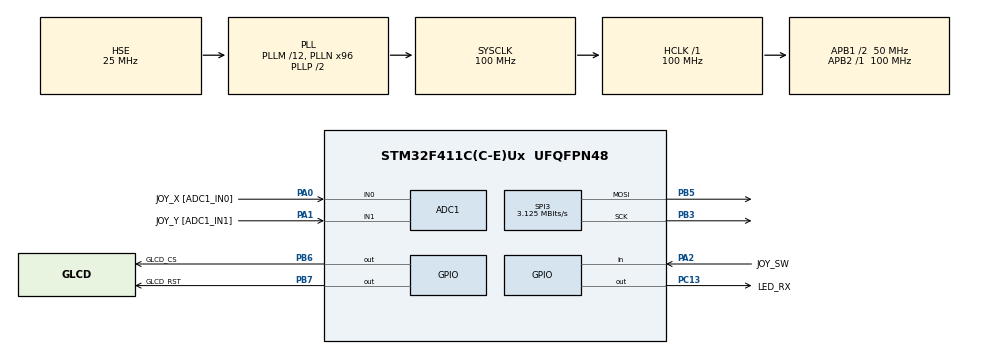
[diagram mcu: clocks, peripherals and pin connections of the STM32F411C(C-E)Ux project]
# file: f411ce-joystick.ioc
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ADC1.Channel-2\#ChannelRegularConversion=ADC_CHANNEL_0
ADC1.Channel-3\#ChannelRegularConversion=ADC_CHANNEL_1
ADC1.ContinuousConvMode=ENABLE
ADC1.DMAContinuousRequests=ENABLE
ADC1.EOCSelection=ADC_EOC_SEQ_CONV
ADC1.NbrOfConversion=2
ADC1.NbrOfConversionFlag=1
ADC1.Rank-2\#ChannelRegularConversion=1
ADC1.Rank-3\#ChannelRegularConversion=2
ADC1.SamplingTime-2\#ChannelRegularConversion=ADC_SAMPLETIME_112CYCLES
ADC1.SamplingTime-3\#ChannelRegularConversion=ADC_SAMPLETIME_112CYCLES
ADC1.ScanConvMode=ENABLE
ADC1.master=1
Dma.ADC1.0.Direction=DMA_PERIPH_TO_MEMORY
Dma.ADC1.0.FIFOMode=DMA_FIFOMODE_DISABLE
Dma.ADC1.0.Instance=DMA2_Stream0
Dma.ADC1.0.MemDataAlignment=DMA_MDATAALIGN_HALFWORD
Dma.ADC1.0.MemInc=DMA_MINC_ENABLE
Dma.ADC1.0.Mode=DMA_CIRCULAR
Dma.ADC1.0.PeriphDataAlignment=DMA_PDATAALIGN_HALFWORD
Dma.ADC1.0.PeriphInc=DMA_PINC_DISABLE
Dma.ADC1.0.Priority=DMA_PRIORITY_LOW
Dma.Request0=ADC1
Mcu.Family=STM32F4
Mcu.Name=STM32F411C(C-E)Ux
Mcu.Package=UFQFPN48
NVIC.ADC_IRQn=true\:0\:0\:false\:false\:true\:true\:true\:true
NVIC.DMA2_Stream0_IRQn=true\:0\:0\:false\:false\:true\:false\:true\:true
NVIC.PriorityGroup=NVIC_PRIORITYGROUP_4
NVIC.TIM1_BRK_TIM9_IRQn=true\:0\:0\:false\:false\:true\:true\:true\:true
PA0-WKUP.GPIO_Label=JOY_X [ADC1_IN0]
PA0-WKUP.Signal=ADCx_IN0
PA1.GPIO_Label=JOY_Y [ADC1_IN1]
PA1.Signal=ADCx_IN1
PA13.Mode=Serial_Wire
PA13.Signal=SYS_JTMS-SWDIO
PA14.Mode=Serial_Wire
PA14.Signal=SYS_JTCK-SWCLK
PA2.GPIO_Label=JOY_SW
PA2.GPIO_PuPd=GPIO_PULLUP
PA2.Signal=GPIO_Input
PB3.Mode=TX_Only_Simplex_Unidirect_Master
PB3.Signal=SPI3_SCK
PB5.Mode=TX_Only_Simplex_Unidirect_Master
PB5.Signal=SPI3_MOSI
PB6.GPIO_Label=GLCD_CS
PB6.GPIO_Speed=GPIO_SPEED_FREQ_VERY_HIGH
PB6.Signal=GPIO_Output
PB7.GPIO_Label=GLCD_RST
PB7.GPIO_Speed=GPIO_SPEED_FREQ_VERY_HIGH
PB7.Signal=GPIO_Output
PC13-ANTI_TAMP.GPIO_Label=LED_RX
PC13-ANTI_TAMP.PinState=GPIO_PIN_SET
PC13-ANTI_TAMP.Signal=GPIO_Output
PH0\ -\ OSC_IN.Mode=HSE-External-Oscillator
PH0\ -\ OSC_IN.Signal=RCC_OSC_IN
PH1\ -\ OSC_OUT.Mode=HSE-External-Oscillator
PH1\ -\ OSC_OUT.Signal=RCC_OSC_OUT
ProjectManager.HeapSize=0x200
ProjectManager.StackSize=0x400
ProjectManager.TargetToolchain=STM32CubeIDE
RCC.48MHZClocksFreq_Value=50000000
RCC.AHBFreq_Value=100000000
RCC.APB1CLKDivider=RCC_HCLK_DIV2
RCC.APB1Freq_Value=50000000
RCC.APB1TimFreq_Value=100000000
RCC.APB2Freq_Value=100000000
RCC.APB2TimFreq_Value=100000000
RCC.CortexFreq_Value=100000000
RCC.HCLKFreq_Value=100000000
RCC.HSE_VALUE=25000000
RCC.HSI_VALUE=16000000
RCC.LSE_VALUE=32768
RCC.PLLM=12
RCC.PLLN=96
RCC.PLLSourceVirtual=RCC_PLLSOURCE_HSE
RCC.SYSCLKFreq_VALUE=100000000
RCC.SYSCLKSource=RCC_SYSCLKSOURCE_PLLCLK
RCC.VCOOutputFreq_Value=200000000
SH.ADCx_IN0.0=ADC1_IN0,IN0
SH.ADCx_IN1.0=ADC1_IN1,IN1
SPI3.BaudRatePrescaler=SPI_BAUDRATEPRESCALER_16
SPI3.CLKPhase=SPI_PHASE_2EDGE
SPI3.CalculateBaudRate=3.125 MBits/s
SPI3.Direction=SPI_DIRECTION_2LINES
SPI3.Mode=SPI_MODE_MASTER
SPI3.VirtualType=VM_MASTER
TIM9.Period=4999
TIM9.Prescaler=99
VP_TIM9_VS_ClockSourceINT.Mode=Internal
board=custom

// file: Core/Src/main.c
/* USER CODE BEGIN Header */
/**
 ******************************************************************************
 * @file           : main.c
 * @brief          : Main program body
 ******************************************************************************
 * @attention
 *
 * Copyright (c) 2024 STMicroelectronics.
 * All rights reserved.
 *
 * This software is licensed under terms that can be found in the LICENSE file
 * in the root directory of this software component.
 * If no LICENSE file comes with this software, it is provided AS-IS.
 *
 ******************************************************************************
 */
/* USER CODE END Header */
#include "main.h"
#include "adc.h"
#include "dma.h"
#include "spi.h"
#include "tim.h"
#include "gpio.h"

/* USER CODE BEGIN Includes */
#include <stdint.h>
#include "lvgl.h"
#include "ST7920_SERIAL.h"

#include "screen/screen.h"
/* USER CODE END Includes */

/* USER CODE BEGIN PTD */

typedef enum{
	JOY_SW_RELEASED,
	JOY_SW_PRESSED
}joystick_sw_e;

typedef struct{
	struct{
		// Holds raw ADC read
		uint16_t u16AdcBuffer[2];
	}buffer;
	// processed value of X and Y axis
	// range is -100 to +100
	int_fast8_t AxisX;
	int_fast8_t AxisY;
	joystick_sw_e eButton;
}joystick_t;

/* USER CODE END PTD */

/* USER CODE BEGIN PM */
#define JOYSTICK_AXIS				(2)
#define JOYSTICK_ADC_MAX_VAL		(4095)
#define JOYSTICK_BTN_PRESSED_VAL	(GPIO_PIN_RESET)

#define JOYSTICK_AXIS_X_INDEX		(0)
#define JOYSTICK_AXIS_Y_INDEX		(1)
/* USER CODE END PM */

/* USER CODE BEGIN PV */
joystick_t Joystick1;

static lv_disp_drv_t DispDriver;
static lv_disp_draw_buf_t DrawBuf;
static lv_color_t buf1[128 * 64];
static lv_disp_t *disp;
/* USER CODE END PV */

void SystemClock_Config(void);

/* USER CODE BEGIN 0 */

/* === TIM Callbacks == */

void HAL_TIM_PeriodElapsedCallback(TIM_HandleTypeDef *htim){
	if (htim->Instance == TIM9){
		lv_tick_inc(5);
	}
}

/* === Display Fxns === */

void my_disp_flush(struct _lv_disp_drv_t * disp_drv, const lv_area_t * area, lv_color_t * color_p)
{
	int32_t x, y;
	/*It's a very slow but simple implementation.
	 *`set_pixel` needs to be written by you to a set pixel on the screen*/
	for(y = area->y1; y <= area->y2; y++) {
		for(x = area->x1; x <= area->x2; x++) {
			if (color_p->full == 0){
				SetPixel(x, y);
			}
			else{
				ClearPixel(x, y);
			}
			color_p++;
		}
	}

	lv_disp_flush_ready(disp_drv);         /* Indicate you are ready with the flushing*/
}

void _screen_init(){
	/* initialize ST7920 Display Driver */
	ST7920_Init();
	ST7920_GraphicMode(1);
	ST7920_Clear();

	/* Initialize basic LVGL */
	lv_init();
	lv_disp_draw_buf_init(&DrawBuf, buf1, NULL, sizeof(buf1));

	/* initialize the driver for LVGL */
	lv_disp_drv_init(&DispDriver);
	DispDriver.flush_cb = my_disp_flush;
	//  DispDriver.set_px_cb = my_set_px_cb;
	//  DispDriver.rounder_cb = my_rounder;
	DispDriver.draw_buf = &DrawBuf;
	DispDriver.hor_res = 128;
	DispDriver.ver_res = 64;
	disp = lv_disp_drv_register(&DispDriver);

	// Start the lvgl timebase timer
	HAL_TIM_Base_Start_IT(&htim9);

	// initialize screen position and coniguration
	screen_main_init();
}

/** Interrupt Routines **/

void HAL_ADC_ConvCpltCallback(ADC_HandleTypeDef *hadc){
	// if you want to do something after conversion
	// you can use this callback for this
}

/** Joystick functions **/

void _joystick_init(joystick_t *Joy){
	HAL_ADC_Start_DMA(&hadc1,
			(uint32_t*)Joy->buffer.u16AdcBuffer,
			JOYSTICK_AXIS);
}

void _joystick_process(joystick_t *Joy){
	int32_t i32RawTo0to200, i32_0to200To100to100;

	if (HAL_GPIO_ReadPin(JOY_SW_GPIO_Port, JOY_SW_Pin) == JOYSTICK_BTN_PRESSED_VAL){
		Joy->eButton = JOY_SW_PRESSED;
	}
	else{
		Joy->eButton = JOY_SW_RELEASED;
	}

	// Process X axis
	// Converts Raw value from 0~4095 to 0~200
	i32RawTo0to200 = Joy->buffer.u16AdcBuffer[JOYSTICK_AXIS_X_INDEX]*200/JOYSTICK_ADC_MAX_VAL;
	// Converts Raw value from 0~200 to -100~+100
	i32_0to200To100to100 = i32RawTo0to200 - 100;
	Joy->AxisX = i32_0to200To100to100;

	// Process Y axis
	// Converts Raw value from 0~4095 to 0~200
	i32RawTo0to200 = Joy->buffer.u16AdcBuffer[JOYSTICK_AXIS_Y_INDEX]*200/JOYSTICK_ADC_MAX_VAL;
	// Converts Raw value from 0~200 to -100~+100
	i32_0to200To100to100 = i32RawTo0to200 - 100;
	Joy->AxisY = i32_0to200To100to100;
}

/* USER CODE END 0 */

int main(void)
{

	/* USER CODE BEGIN 1 */
	uint32_t lvTick6;
	/* USER CODE END 1 */

	/* MCU Configuration--------------------------------------------------------*/

	/* Reset of all peripherals, Initializes the Flash interface and the Systick. */
	HAL_Init();

	/* Configure the system clock */
	SystemClock_Config();

	/* Initialize all configured peripherals */
	MX_GPIO_Init();
	MX_DMA_Init();
	MX_SPI3_Init();
	MX_TIM9_Init();
	MX_ADC1_Init();
	/* USER CODE BEGIN 2 */
	HAL_Delay(200);

	_screen_init();

	_joystick_init(&Joystick1);
	/* USER CODE END 2 */

	/* Infinite loop */
	/* USER CODE BEGIN WHILE */
	lvTick6 = HAL_GetTick();
	while (1)
	{
		// process lvgl every 6 ms, and refresh the display
		if ((HAL_GetTick() - lvTick6) > 6){
			lv_task_handler();
			ST7920_Update();
		}

		_joystick_process(&Joystick1);
		screen_upd_joystick(Joystick1.AxisX, Joystick1.AxisY, Joystick1.eButton);
		/* USER CODE END WHILE */

	}
}

void SystemClock_Config(void)
{
	RCC_OscInitTypeDef RCC_OscInitStruct = {0};
	RCC_ClkInitTypeDef RCC_ClkInitStruct = {0};

	/** Configure the main internal regulator output voltage
	 */
	__HAL_RCC_PWR_CLK_ENABLE();
	__HAL_PWR_VOLTAGESCALING_CONFIG(PWR_REGULATOR_VOLTAGE_SCALE1);

	/** Initializes the RCC Oscillators according to the specified parameters
	 * in the RCC_OscInitTypeDef structure.
	 */
	RCC_OscInitStruct.OscillatorType = RCC_OSCILLATORTYPE_HSE;
	RCC_OscInitStruct.HSEState = RCC_HSE_ON;
	RCC_OscInitStruct.PLL.PLLState = RCC_PLL_ON;
	RCC_OscInitStruct.PLL.PLLSource = RCC_PLLSOURCE_HSE;
	RCC_OscInitStruct.PLL.PLLM = 12;
	RCC_OscInitStruct.PLL.PLLN = 96;
	RCC_OscInitStruct.PLL.PLLP = RCC_PLLP_DIV2;
	RCC_OscInitStruct.PLL.PLLQ = 4;
	if (HAL_RCC_OscConfig(&RCC_OscInitStruct) != HAL_OK)
	{
		Error_Handler();
	}

	/** Initializes the CPU, AHB and APB buses clocks
	 */
	RCC_ClkInitStruct.ClockType = RCC_CLOCKTYPE_HCLK|RCC_CLOCKTYPE_SYSCLK
			|RCC_CLOCKTYPE_PCLK1|RCC_CLOCKTYPE_PCLK2;
	RCC_ClkInitStruct.SYSCLKSource = RCC_SYSCLKSOURCE_PLLCLK;
	RCC_ClkInitStruct.AHBCLKDivider = RCC_SYSCLK_DIV1;
	RCC_ClkInitStruct.APB1CLKDivider = RCC_HCLK_DIV2;
	RCC_ClkInitStruct.APB2CLKDivider = RCC_HCLK_DIV1;

	if (HAL_RCC_ClockConfig(&RCC_ClkInitStruct, FLASH_LATENCY_3) != HAL_OK)
	{
		Error_Handler();
	}
}

void Error_Handler(void)
{
	__disable_irq();
	while (1)
	{
	}
}
